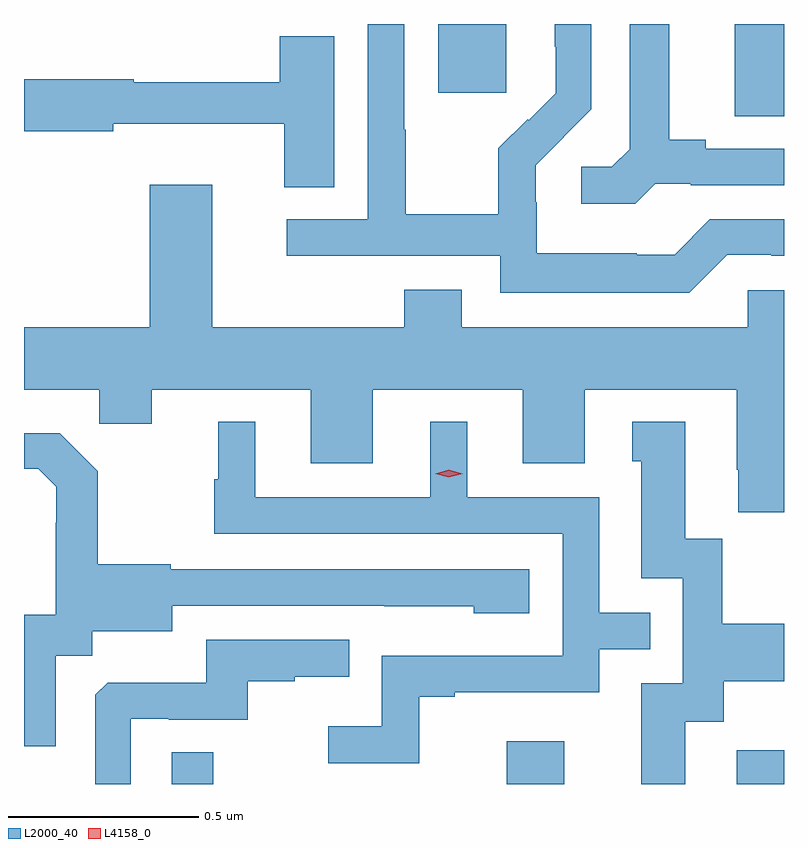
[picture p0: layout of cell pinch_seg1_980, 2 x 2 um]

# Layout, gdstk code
import gdstk
lib = gdstk.Library(unit=1e-6, precision=1e-09)
def R(c, l, rs):  # rectangles x0, y0, x1, y1
    for r in rs: c.add(gdstk.rectangle(r[:2], r[2:], *l))
def P(c, l, *ps):  # polygons
    for p in ps: c.add(gdstk.Polygon(p, *l))
L2000_40 = (2000, 40)
L4158_0 = (4158, 0)

pinch_seg1_980 = lib.new_cell('pinch_seg1_980')
R(pinch_seg1_980, L2000_40, [(165.066,564.014,165.175,564.098), (165.947,564.014,166.099,564.127), (166.553,564.014,166.677,564.103), (166.547,565.771,166.677,566.014), (165.767,565.833,165.946,566.014)])
P(pinch_seg1_980, L2000_40, [(166.527,565.407),(166.643,565.407),(166.643,565.404),(166.677,565.404),(166.677,565.5),(166.482,565.5),(166.389,565.407),(166.289,565.407),(166.289,565.411),(166.026,565.411),(166.026,565.545),(166.024,565.545),(166.024,565.642),(166.098,565.716),(166.097,565.717),(166.17,565.79),(166.17,566.014),(166.074,566.014),(166.074,565.954),(166.076,565.954),(166.076,565.832),(166.005,565.761),(166.002,565.764),(165.925,565.687),(165.925,565.513),(165.681,565.513),(165.681,565.736),(165.678,565.736),(165.678,566.014),(165.582,566.014),(165.582,565.5),(165.369,565.5),(165.369,565.404),(165.93,565.404),(165.93,565.307),(166.427,565.307)],
  [(166.338,565.593),(166.432,565.593),(166.432,565.59),(166.677,565.59),(166.677,565.686),(166.471,565.686),(166.471,565.709),(166.375,565.709),(166.375,566.014),(166.271,566.014),(166.271,565.685),(166.224,565.638),(166.143,565.638),(166.143,565.541),(166.286,565.541)],
  [(165.493,565.982),(165.35,565.982),(165.35,565.861),(164.966,565.861),(164.966,565.868),(164.677,565.868),(164.677,565.732),(164.912,565.732),(164.912,565.751),(165.362,565.751),(165.362,565.585),(165.493,565.585)],
  [(166.677,565.314),(166.581,565.314),(166.581,565.216),(165.829,565.216),(165.829,565.315),(165.677,565.315),(165.677,565.216),(165.172,565.216),(165.172,565.591),(165.008,565.591),(165.008,565.216),(164.677,565.216),(164.677,565.052),(164.875,565.052),(164.875,564.962),(165.013,564.962),(165.013,565.052),(165.431,565.052),(165.431,564.858),(165.595,564.858),(165.595,565.052),(165.989,565.052),(165.989,564.858),(166.153,564.858),(166.153,565.052),(166.553,565.052),(166.553,564.841),(166.556,564.841),(166.556,564.729),(166.677,564.729)],
  [(165.717,564.243),(165.811,564.243),(165.811,564.255),(166.191,564.255),(166.191,564.369),(166.325,564.369),(166.325,564.465),(166.191,564.465),(166.191,564.768),(165.844,564.768),(165.844,564.967),(165.746,564.967),(165.746,564.768),(165.286,564.768),(165.286,564.967),(165.188,564.967),(165.188,564.816),(165.177,564.816),(165.177,564.672),(166.095,564.672),(166.095,564.351),(165.618,564.351),(165.618,564.166),(165.477,564.166),(165.477,564.068),(165.717,564.068)],
  [(166.417,564.178),(166.519,564.178),(166.519,564.284),(166.677,564.284),(166.677,564.436),(166.515,564.436),(166.515,564.659),(166.417,564.659),(166.417,564.967),(166.277,564.967),(166.277,564.864),(166.301,564.864),(166.301,564.555),(166.41,564.555),(166.41,564.279),(166.301,564.279),(166.301,564.014),(166.417,564.014)],
  [(164.761,564.352),(164.856,564.352),(164.856,564.416),(165.067,564.416),(165.067,564.483),(165.625,564.483),(165.625,564.482),(165.861,564.482),(165.861,564.464),(166.006,564.464),(166.006,564.579),(165.063,564.579),(165.063,564.592),(164.871,564.592),(164.871,564.837),(164.771,564.937),(164.677,564.937),(164.677,564.843),(164.715,564.843),(164.762,564.796),(164.762,564.701),(164.76,564.701),(164.76,564.46),(164.677,564.46),(164.677,564.114),(164.761,564.114)],
  [(164.958,564.186),(165.058,564.186),(165.058,564.183),(165.266,564.183),(165.266,564.285),(165.389,564.285),(165.389,564.296),(165.533,564.296),(165.533,564.393),(165.156,564.393),(165.156,564.281),(164.897,564.281),(164.865,564.249),(164.865,564.014),(164.958,564.014)])
P(pinch_seg1_980, L4158_0, [(165.795,564.821),(165.759,564.831),(165.759,564.831),(165.759,564.831),(165.795,564.841),(165.831,564.831),(165.831,564.831),(165.831,564.831)])

lib.write_gds('pinch_seg1_980.gds')
